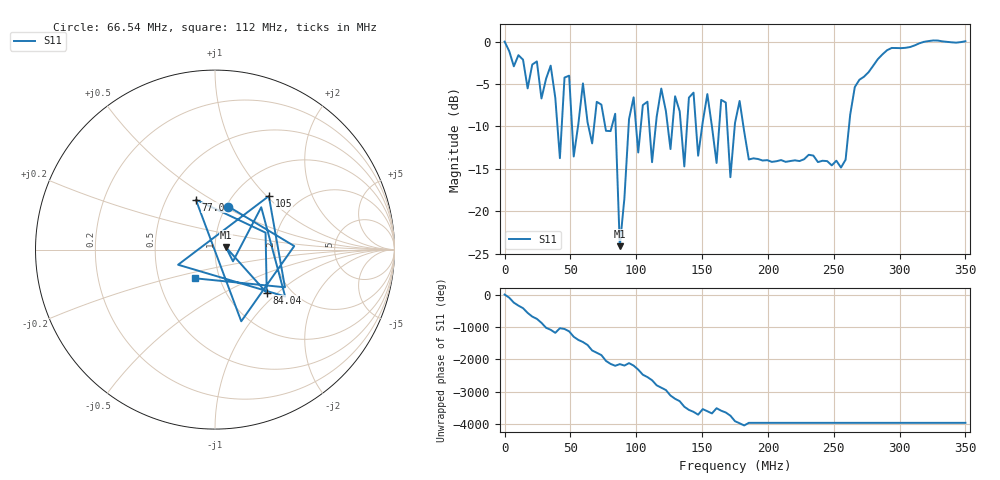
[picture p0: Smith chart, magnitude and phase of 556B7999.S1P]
!File created by NanoVNA
# Hz S RI R 50
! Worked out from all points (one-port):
!   101 points, 50 kHz to 350 MHz, reference 50 ohm
!   lowest |S11| = -24.1 dB at 87.54 MHz (marker M1), VSWR 1.13, Z = 56.5 + j1.48 ohm
!   |S11| at or under -10 dB: 76.46 MHz to 81.47 MHz (5.008 MHz wide, 6.34 % of centre); 84.37 MHz to 94.21 MHz (9.836 MHz wide, 11 % of centre); 181.4 MHz to 261.6 MHz (80.17 MHz wide, 36.2 % of centre) (the widest 3 of 13)
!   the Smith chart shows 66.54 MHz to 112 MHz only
!   S11 on the Smith chart (normalised r, x): 66.54 MHz: 1.02, +0.53; 77.04 MHz: 0.70, +0.43; 84.04 MHz: 1.52, -0.85; 105 MHz: 1.42, +1.03; 112 MHz: 0.76, -0.25
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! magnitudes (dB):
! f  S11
! 50 kHz  0.0
! 35.05 MHz  -2.8
! 42.04 MHz  -13.7
! 45.54 MHz  -4.2
! 52.54 MHz  -13.5
! 59.54 MHz  -4.9
! 66.54 MHz  -12.0
! 77.04 MHz  -10.5
! 84.04 MHz  -8.5
! 87.54 MHz  -24.1
! 94.54 MHz  -9.1
! 105 MHz  -7.5
! 112 MHz  -14.2
! 119 MHz  -5.5
! 126 MHz  -12.7
! 133 MHz  -8.2
! 136.5 MHz  -14.7
! 140 MHz  -6.6
! 147 MHz  -13.4
! 154 MHz  -6.2
! 161 MHz  -14.3
! 168 MHz  -7.2
! 171.5 MHz  -16.0
! 175 MHz  -9.6
! 220.5 MHz  -14.0
! 262.5 MHz  -8.6
! 308 MHz  -0.6
! 350 MHz  0.0
